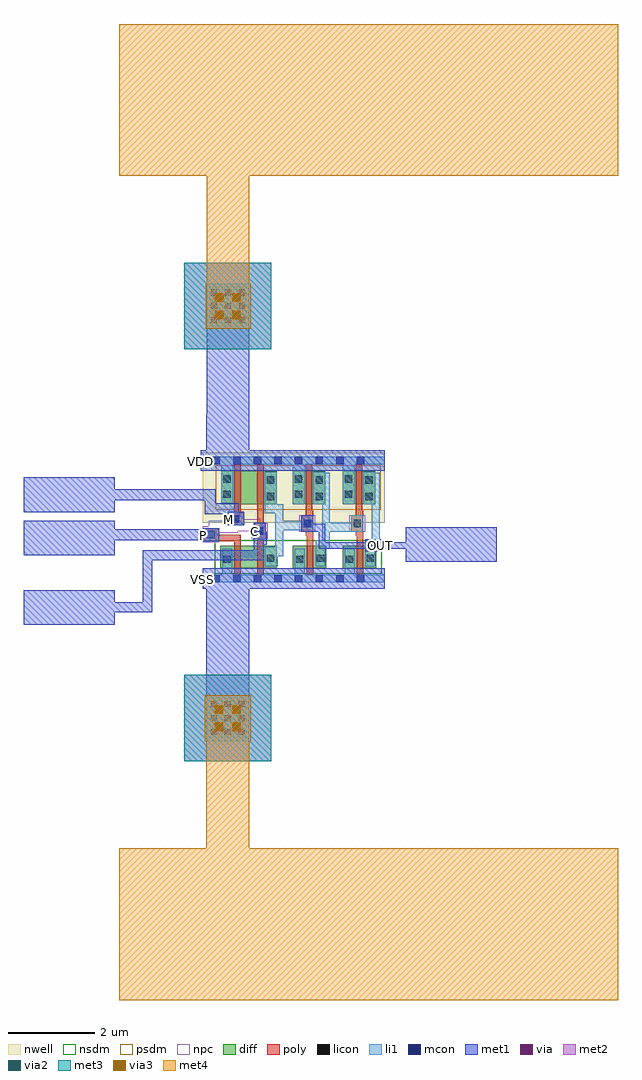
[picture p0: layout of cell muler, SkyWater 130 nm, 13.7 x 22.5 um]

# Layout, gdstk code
import gdstk
lib = gdstk.Library(unit=1e-6, precision=1e-09)
def R(c, l, rs):  # rectangles x0, y0, x1, y1
    for r in rs: c.add(gdstk.rectangle(r[:2], r[2:], *l))
def A(c, l, x, y, w, h, nx, ny, dx, dy):  # array of equal rectangles
    R(c, l, [(x+i*dx, y+j*dy, x+i*dx+w, y+j*dy+h) for i in range(nx) for j in range(ny)])
nwell = (64, 20)
diff = (65, 20)
poly = (66, 20)
licon = (66, 44)
li1 = (67, 20)
mcon = (67, 44)
met1 = (68, 20)
via = (68, 44)
met2 = (69, 20)
via2 = (69, 44)
met3 = (70, 20)
via3 = (70, 44)
met4 = (71, 20)
nsdm = (93, 44)
psdm = (94, 20)
npc = (95, 20)

muler = lib.new_cell('muler')
R(muler, nwell, [(1.425,-3.5,5.625,-1.875)])
R(muler, diff, [(1.825,-4.55,3.125,-4.025), (3.5,-4.55,4.275,-4.025), (4.65,-4.55,5.425,-4.025), (1.85,-3.075,3.125,-2.3), (3.5,-3.075,4.25,-2.3), (4.65,-3.075,5.4,-2.3)])
R(muler, poly, [(2.15,-4.7,2.3,-3.925), (2.675,-4.7,2.825,-3.875), (3.825,-4.7,3.975,-3.8), (4.975,-4.7,5.125,-3.8), (1.425,-3.925,2.3,-3.775), (2.6,-3.875,2.875,-3.5), (3.8,-3.8,3.975,-3.7), (4.95,-3.8,5.125,-3.7), (1.425,-3.775,1.8,-3.625), (3.7,-3.7,3.975,-3.325), (4.85,-3.7,5.125,-3.325), (2,-3.55,2.375,-3.25), (2.675,-3.5,2.825,-2.15), (3.8,-3.325,3.975,-3.225), (4.95,-3.325,5.125,-3.225), (2.15,-3.25,2.3,-2.15), (3.8,-3.225,3.95,-2.15), (4.95,-3.225,5.1,-2.15)])
A(muler, licon, 2.9, -4.4, 0.17, 0.17, 3, 1, 1.15, 0)
R(muler, licon, [(1.9,-4.425,2.07,-4.255), (3.575,-4.425,3.745,-4.255), (4.725,-4.425,4.895,-4.255), (1.525,-3.85,1.695,-3.68), (2.65,-3.775,2.82,-3.605), (3.75,-3.6,3.92,-3.43), (4.9,-3.6,5.07,-3.43), (2.1,-3.5,2.27,-3.33), (2.9,-2.975,3.07,-2.805), (4.025,-2.975,4.195,-2.805), (5.175,-2.975,5.345,-2.805), (1.9,-2.925,2.07,-2.755), (3.55,-2.925,3.72,-2.755), (4.7,-2.925,4.87,-2.755), (2.9,-2.6,3.07,-2.43), (4.025,-2.6,4.195,-2.43), (5.175,-2.6,5.345,-2.43), (1.9,-2.575,2.07,-2.405), (3.55,-2.575,3.72,-2.405), (4.7,-2.575,4.87,-2.405)])
R(muler, li1, [(1.425,-4.875,5.625,-4.7), (1.875,-4.7,2.1,-4.1), (3.55,-4.7,3.775,-4.1), (4.7,-4.7,4.925,-4.1), (2.85,-4.5,3.15,-4.275), (4.025,-4.5,4.25,-4.1), (5.175,-4.5,5.4,-4.15), (2.85,-4.275,3.275,-4.05), (5.175,-4.15,5.55,-3.875), (4.025,-4.1,4.35,-3.9), (3.1,-4.05,3.275,-3.675), (1.425,-3.925,1.8,-3.625), (4.175,-3.9,4.35,-3.7), (2.6,-3.875,2.875,-3.5), (5.325,-3.875,5.5,-3.075), (3.7,-3.7,3.975,-3.675), (4.175,-3.7,5.125,-3.5), (3.1,-3.675,3.975,-3.45), (2,-3.55,2.375,-3.25), (4.175,-3.5,4.35,-3.075), (4.85,-3.5,5.125,-3.325), (3.1,-3.45,3.275,-3.275), (3.7,-3.45,3.975,-3.325), (2.85,-3.275,3.275,-3.075), (2.85,-3.075,3.125,-2.325), (3.5,-3.075,3.775,-2.15), (3.975,-3.075,4.35,-2.35), (4.65,-3.075,4.925,-2.15), (5.125,-3.075,5.5,-2.35), (1.85,-3.05,2.125,-2.15), (3.975,-2.35,4.25,-2.325), (5.125,-2.35,5.4,-2.325), (1.425,-2.15,5.625,-1.975)])
A(muler, mcon, 1.65, -4.875, 0.17, 0.17, 8, 2, 0.475, 2.725)
R(muler, mcon, [(5.275,-4.1,5.445,-3.93), (2.65,-3.775,2.82,-3.605), (3.75,-3.6,3.92,-3.43), (2.09,-3.5,2.26,-3.33)])
R(muler, met1, [(1.5,-8.53,2.5,-5.025), (-2.7,-5.85,-0.6,-5.56), (-2.7,-5.56,0.265,-5.335), (-2.7,-5.335,-0.6,-5.05), (0.04,-5.335,0.265,-4.36), (1.425,-5.025,5.625,-4.55), (6.1,-4.4,8.2,-4.1), (0.04,-4.36,2.825,-4.135), (-2.7,-4.25,-0.6,-3.9), (5.175,-4.15,5.55,-4.1), (2.6,-4.135,2.825,-4), (4.1,-4.1,8.2,-3.95), (2.6,-4,2.9,-3.7), (4.1,-3.95,4.25,-3.7), (5.175,-3.95,5.55,-3.875), (6.1,-3.95,8.2,-3.6), (1.425,-3.925,1.8,-3.9), (-2.7,-3.9,1.8,-3.65), (2.6,-3.7,2.875,-3.5), (3.7,-3.7,4.25,-3.525), (-2.7,-3.65,-0.6,-3.45), (1.425,-3.65,1.8,-3.625), (2,-3.55,2.375,-3.3), (3.7,-3.525,3.975,-3.325), (1.475,-3.3,2.375,-3.25), (-2.7,-3.25,-0.6,-2.975), (1.475,-3.25,2.25,-3.05), (1.475,-3.05,1.725,-2.975), (-2.7,-2.975,1.725,-2.725), (-2.7,-2.725,-0.6,-2.45), (1.375,-2.3,5.625,-1.825), (1.5,-1.825,2.5,-1), (1.52,-1,2.495,2.015)])
A(muler, via, 1.605, -8.395, 0.15, 0.15, 3, 3, 0.32, 0.32)
A(muler, via, 1.61, 1.1, 0.15, 0.15, 3, 3, 0.32, 0.32)
R(muler, met2, [(1,-9,3,-7), (1,0.5,3,2.5)])
R(muler, via2, [(1.7,-8.3,1.9,-8.1), (2.1,-8.3,2.3,-8.1), (1.7,-7.9,1.9,-7.7), (2.1,-7.9,2.3,-7.7), (1.705,1.195,1.905,1.395), (2.105,1.195,2.305,1.395), (1.705,1.595,1.905,1.795), (2.105,1.595,2.305,1.795)])
R(muler, met3, [(1,-9,3,-7), (1,0.5,3,2.5)])
R(muler, via3, [(1.7,-8.3,1.9,-8.1), (2.1,-8.3,2.3,-8.1), (1.7,-7.9,1.9,-7.7), (2.1,-7.9,2.3,-7.7), (1.705,1.195,1.905,1.395), (2.105,1.195,2.305,1.395), (1.705,1.595,1.905,1.795), (2.105,1.595,2.305,1.795)])
R(muler, met4, [(-0.5,-14.5,11,-11), (1.5,-11,2.5,-8.53), (1.47,-8.53,2.53,-7.47), (1.49,0.98,2.525,2.015), (1.52,2.015,2.495,4.5), (-0.5,4.5,11,8)])
R(muler, nsdm, [(1.7,-4.675,5.55,-3.9)])
R(muler, psdm, [(1.725,-3.2,5.525,-2.175)])
R(muler, npc, [(1.425,-3.95,1.795,-3.725), (2.55,-3.875,2.92,-3.69), (1.425,-3.725,2.23,-3.69), (3.65,-3.7,4.02,-3.33), (4.8,-3.7,5.17,-3.33), (1.425,-3.69,2.92,-3.58), (1.565,-3.58,2.92,-3.505), (1.565,-3.505,2.75,-3.455), (2,-3.455,2.75,-3.415), (2,-3.415,2.37,-3.23)])
muler.add(gdstk.Label('VSS', (1.425,-4.8), layer=68, texttype=16))
muler.add(gdstk.Label('VDD', (1.375,-2.075), layer=68, texttype=16))
muler.add(gdstk.Label('M', (2.025,-3.425), layer=68, texttype=16))
muler.add(gdstk.Label('P', (1.45,-3.8), layer=68, texttype=16))
muler.add(gdstk.Label('C', (2.625,-3.7), layer=68, texttype=16))
muler.add(gdstk.Label('OUT', (5.525,-4.025), layer=68, texttype=16))

lib.write_gds('muler.gds')
